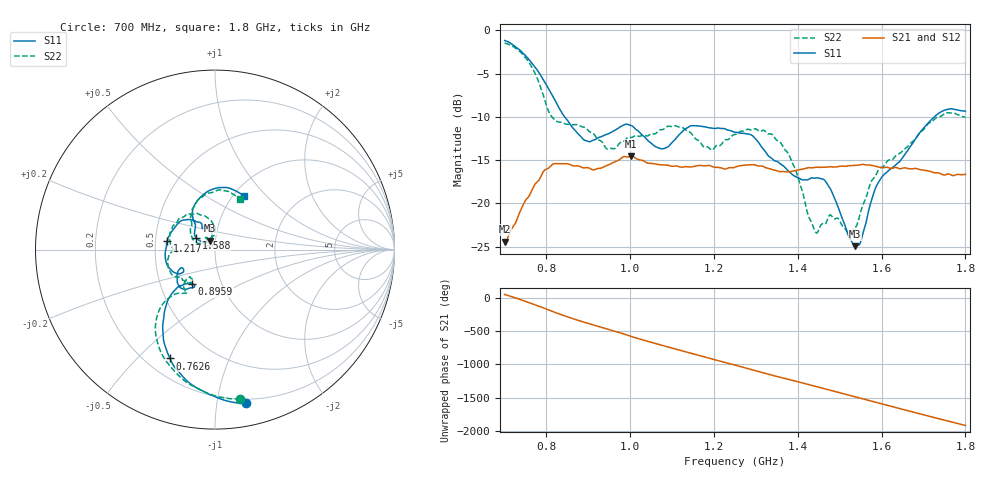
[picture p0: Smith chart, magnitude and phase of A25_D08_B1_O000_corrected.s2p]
! Created with skrf 1.9.0 (http://scikit-rf.org).
# Hz S RI R 50.0
!freq ReS11 ImS11 ReS21 ImS21 ReS12 ImS12 ReS22 ImS22
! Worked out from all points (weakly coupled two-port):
!   1601 points, 700 MHz to 1.8 GHz, reference 50 ohm
!   highest |S21| = -14.54 dB at 1.002 GHz (marker M1); lowest = -24.4 dB at 700.7 MHz (marker M2)
!   lowest |S11| = -25.0 dB at 1.537 GHz (marker M3), VSWR 1.12, Z = 47.2 + j4.76 ohm
!   |S11| at or under -10 dB: 843.4 MHz to 1.726 GHz (882.6 MHz wide, 68.7 % of centre)
!   |S22| runs from -23.5 to -1.5 dB; largest |S21 - S12| = 0.0036
!   S11 on the Smith chart (normalised r, x): 700 MHz: 0.17, -1.21; 762.6 MHz: 0.29, -0.63; 895.9 MHz: 0.73, -0.29; 1.217 GHz: 0.58, +0.06; 1.588 GHz: 0.80, +0.11; 1.8 GHz: 1.12, +0.76
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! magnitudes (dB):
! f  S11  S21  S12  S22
! 700 MHz  -1.2  -24.4  -24.2  -1.5
! 700.7 MHz  -1.2  -24.4  -24.1  -1.5
! 762.6 MHz  -3.7  -18.8  -18.7  -4.1
! 814.1 MHz  -7.5  -15.5  -15.6  -10.1
! 883.6 MHz  -12.4  -15.8  -15.7  -11.1
! 895.9 MHz  -12.8  -15.9  -16.0  -11.4
! 946.8 MHz  -12.0  -15.6  -15.6  -13.7
! 1.002 GHz  -11.0  -14.5  -14.6  -12.4
! 1.067 GHz  -13.6  -15.5  -15.5  -11.6
! 1.143 GHz  -11.1  -15.8  -15.8  -11.8
! 1.217 GHz  -11.3  -15.9  -15.9  -13.2
! 1.25 GHz  -11.8  -15.8  -15.8  -12.0
! 1.358 GHz  -15.4  -16.3  -16.3  -12.9
! 1.394 GHz  -16.9  -16.2  -16.2  -16.0
! 1.434 GHz  -17.0  -15.9  -15.9  -22.3
! 1.472 GHz  -17.9  -15.8  -15.8  -21.7
! 1.537 GHz  -25.0  -15.6  -15.6  -22.8
! 1.55 GHz  -24.4  -15.5  -15.6  -20.9
! 1.588 GHz  -18.0  -15.7  -15.7  -16.6
! 1.617 GHz  -16.2  -15.9  -15.9  -15.0
! 1.733 GHz  -9.7  -16.5  -16.5  -10.0
! 1.8 GHz  -9.4  -16.7  -16.7  -10.0
